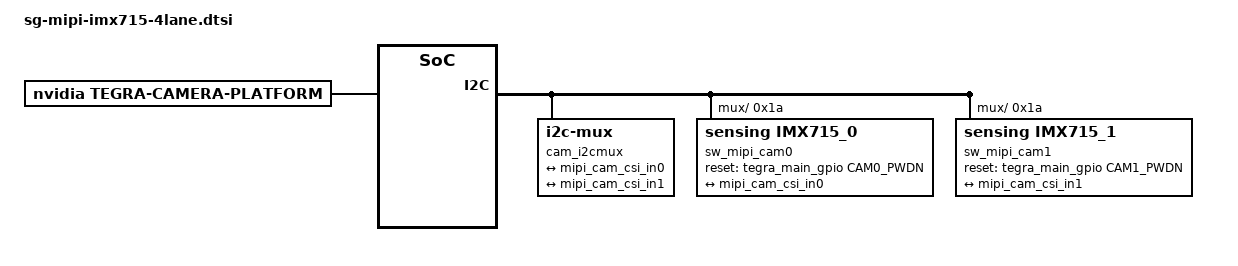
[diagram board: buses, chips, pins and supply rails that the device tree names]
/*
 * Copyright (c) 2022-2023, NVIDIA CORPORATION.  All rights reserved.
 *
 * This program is free software; you can redistribute it and/or modify
 * it under the terms of the GNU General Public License as published by
 * the Free Software Foundation; either version 2 of the License, or
 * (at your option) any later version.
 *
 * This program is distributed in the hope that it will be useful, but WITHOUT
 * ANY WARRANTY; without even the implied warranty of MERCHANTABILITY or
 * FITNESS FOR A PARTICULAR PURPOSE.  See the GNU General Public License for
 * more details.
 *
 * You should have received a copy of the GNU General Public License
 * along with this program.  If not, see <http://www.gnu.org/licenses/>.
 */
#define CAM0_PWDN	TEGRA234_MAIN_GPIO(H, 6)
#define CAM1_PWDN	TEGRA234_MAIN_GPIO(AC, 0)
#define CAM_I2C_MUX 	TEGRA234_AON_GPIO(CC, 3)

/ {
	tegra-capture-vi  {
		num-channels = <2>;
		ports {
			#address-cells = <1>;
			#size-cells = <0>;
			port@0 {
				reg = <0>;
				mipi_cam_vi_in0: endpoint {
					port-index = <1>;
					bus-width = <2>;
					remote-endpoint = <&mipi_cam_csi_out0>;
				};
			};
			port@1 {
				reg = <1>;
				mipi_cam_vi_in1: endpoint {
					port-index = <0>;
					bus-width = <4>;
					remote-endpoint = <&mipi_cam_csi_out1>;
				};
			};
		};
	};

	host1x@13e00000 {
		nvcsi@15a00000 {
			num-channels = <2>;
			#address-cells = <1>;
			#size-cells = <0>;
			channel@0 {
				reg = <0>;
				ports {
					#address-cells = <1>;
					#size-cells = <0>;
					port@0 {
						reg = <0>;
						mipi_cam_csi_in0: endpoint@0 {
							port-index = <0>;
							bus-width = <2>;
							remote-endpoint = <&mipi_cam_out0>;
						};
					};
					port@1 {
						reg = <1>;
						mipi_cam_csi_out0: endpoint@1 {
							remote-endpoint = <&mipi_cam_vi_in0>;
						};
					};
				};
			};
			channel@1 {
				reg = <1>;
				ports {
					#address-cells = <1>;
					#size-cells = <0>;
					port@0 {
						reg = <0>;
						mipi_cam_csi_in1: endpoint@2 {
							port-index = <2>;
							bus-width = <4>;
							remote-endpoint = <&mipi_cam_out1>;
						};
					};
					port@1 {
						reg = <1>;
						mipi_cam_csi_out1: endpoint@3 {
							remote-endpoint = <&mipi_cam_vi_in1>;
						};
					};
				};
			};
		};
	};

	cam_i2cmux {
		i2c@0 {
			sw_mipi_cam0: cam_0@1a {
				compatible = "sensing,imx715_0";
				/* I2C device address */
				reg = <0x1a>;

				/* V4L2 device node location */
				devnode = "video0";

				/* Physical dimensions of sensor */
				physical_w = "3.680";
				physical_h = "2.760";

				sensor_model = "imx715";
				
				/* Defines number of frames to be dropped by driver internally after applying */
				/* sensor crop settings. Some sensors send corrupt frames after applying */
				/* crop co-ordinates */
				post_crop_frame_drop = "0";

				/* Convert Gain to unit of dB (decibel) befor passing to kernel driver */
				use_decibel_gain = "false";

				/* if true, delay gain setting by one frame to be in sync with exposure */
				delayed_gain = "true";

				/* enable CID_SENSOR_MODE_ID for sensor modes selection */
				use_sensor_mode_id = "true";

				reset-gpios = <&tegra_main_gpio CAM0_PWDN GPIO_ACTIVE_HIGH>;

				/**
				* ==== Modes ====
				*/
				mode0 { /*  */
					mclk_khz = "27000";
					num_lanes = "2";
					tegra_sinterface = "serial_b";
					phy_mode = "DPHY";
					discontinuous_clk = "no";
					dpcm_enable = "false";
					cil_settletime = "0";
					lane_polarity = "0";

					active_w = "3864";
					active_h = "2176";
					mode_type = "bayer";
					pixel_phase = "gbrg";
					csi_pixel_bit_depth = "12";
					dynamic_pixel_bit_depth = "12";
					readout_orientation = "0";
					line_length = "3864";
					inherent_gain = "1";
					mclk_multiplier = "25.6";//600000 Khz / 25 =24000 Khz
					pix_clk_hz = "950400000";

					gain_factor = "1000";
					min_gain_val = "1"; /* 1dB */ 			//don't set 0db
					max_gain_val = "72000"; /* 72dB */
					step_gain_val = "300"; /* 0.3 */
					default_gain = "1";
					min_hdr_ratio = "1";
					max_hdr_ratio = "1";
					framerate_factor = "1000000";
					min_framerate = "60000000";
					max_framerate = "60000000";
					step_framerate = "1";
					default_framerate = "60000000";
					exposure_factor = "1000000";
					min_exp_time = "59"; /* us, min 4 lines */
					max_exp_time = "16000"; /* us, max number of lines per frame - 8 */
					step_exp_time = "1";
					default_exp_time = "16000";/* us */
					embedded_metadata_height = "1";
				};

				ports {
					#address-cells = <1>;
					#size-cells = <0>;

					port@0 {
						reg = <0>;
						mipi_cam_out0: endpoint {
							port-index = <1>;
							bus-width = <2>;
							remote-endpoint = <&mipi_cam_csi_in0>;
						};
					};
				};
			};
		};
		i2c@1 {
			sw_mipi_cam1: cam_1@1a {
				compatible = "sensing,imx715_1";
				/* I2C device address */
				reg = <0x1a>;

				/* V4L2 device node location */
				devnode = "video1";

				/* Physical dimensions of sensor */
				physical_w = "3.680";
				physical_h = "2.760";

				sensor_model = "imx715";
				
				/* Defines number of frames to be dropped by driver internally after applying */
				/* sensor crop settings. Some sensors send corrupt frames after applying */
				/* crop co-ordinates */
				post_crop_frame_drop = "0";

				/* Convert Gain to unit of dB (decibel) befor passing to kernel driver */
				use_decibel_gain = "true";

				/* if true, delay gain setting by one frame to be in sync with exposure */
				delayed_gain = "true";

				/* enable CID_SENSOR_MODE_ID for sensor modes selection */
				use_sensor_mode_id = "true";

				reset-gpios = <&tegra_main_gpio CAM1_PWDN GPIO_ACTIVE_HIGH>;

				mode0 { /* 3864X2176_4lane_raw12_30fps_linear */
					mclk_khz = "27000";
					num_lanes = "4";
					tegra_sinterface = "serial_c";
					phy_mode = "DPHY";
					discontinuous_clk = "no";
					dpcm_enable = "false";
					cil_settletime = "0";
					lane_polarity = "0";

					active_w = "3864";
					active_h = "2176";
					mode_type = "bayer";
					pixel_phase = "gbrg";
					csi_pixel_bit_depth = "12";
					dynamic_pixel_bit_depth = "12";
					readout_orientation = "0";
					line_length = "3864";
					inherent_gain = "1";
					mclk_multiplier = "25.6";
					pix_clk_hz = "396000000";

					gain_factor = "1000";
					min_gain_val = "1"; /* 1dB */ 			
					max_gain_val = "72000"; /* 72dB */
					step_gain_val = "300"; /* 0.3 */
					default_gain = "1";
					min_hdr_ratio = "1";
					max_hdr_ratio = "1";
					framerate_factor = "1000000";
					min_framerate = "30000000";
					max_framerate = "30000000";
					step_framerate = "1";
					default_framerate = "30000000";
					exposure_factor = "1000000";
					min_exp_time = "59"; 	/*us, min 4 lines*/
					max_exp_time = "30000"; /*us, max number of lines per frame - 8*/
					step_exp_time = "1";
					default_exp_time = "30000";/* us */
					embedded_metadata_height = "1";
				};

				mode1 { /* 1932x1088_4lane_raw12_30fps_binning */
					mclk_khz = "27000";
					num_lanes = "4";
					tegra_sinterface = "serial_c";
					phy_mode = "DPHY";
					discontinuous_clk = "no";
					dpcm_enable = "false";
					cil_settletime = "0";
					lane_polarity = "0";

					active_w = "1944";
					active_h = "1088";
					mode_type = "bayer";
					pixel_phase = "gbrg";			
					csi_pixel_bit_depth = "12";
					dynamic_pixel_bit_depth = "12";
					readout_orientation = "0";
					line_length = "1980";
					inherent_gain = "1";
					mclk_multiplier = "25.6";
					pix_clk_hz = "297000000";

					gain_factor = "1000";
					min_gain_val = "1"; /* 1dB */ 			
					max_gain_val = "72000"; /* 72dB */
					step_gain_val = "300"; /* 0.3 */
					default_gain = "1";
					min_hdr_ratio = "1";
					max_hdr_ratio = "1";
					framerate_factor = "1000000";
					min_framerate = "30000000";
					max_framerate = "30000000";
					step_framerate = "1";
					default_framerate = "30000000";
					exposure_factor = "1000000";
					min_exp_time = "59"; 	/*us, min 4 lines*/
					max_exp_time = "30000"; /*us, max number of lines per frame - 8*/
					step_exp_time = "1";
					default_exp_time = "30000";/* us */
					embedded_metadata_height = "1";
				};

				mode2 { /* 3840X2160_4lane_raw12_30fps_dol2 */
					mclk_khz = "27000";
					num_lanes = "4";
					tegra_sinterface = "serial_c";
					phy_mode = "DPHY";
					discontinuous_clk = "no";
					dpcm_enable = "false";
					cil_settletime = "0";
					lane_polarity = "0";

					active_w = "3872";
					active_h = "4434";			
					mode_type = "bayer_wdr_dol";
					pixel_phase = "gbrg";    
					csi_pixel_bit_depth = "12";
					dynamic_pixel_bit_depth = "12";
					readout_orientation = "0";
					line_length = "3872";
					inherent_gain = "1";
					mclk_multiplier = "25.6";
					pix_clk_hz = "394000000";

					gain_factor = "1000";
					min_gain_val = "1"; 	 /* 1dB */ 			
					max_gain_val = "72000";  /* 72dB */
					step_gain_val = "300";	 /* 0.3 */
					default_gain = "1";
					min_hdr_ratio = "32";
					max_hdr_ratio = "32";
					framerate_factor = "1000000";
					min_framerate = "30000000";
					max_framerate = "30000000";
					step_framerate = "1";
					default_framerate = "30000000";
					exposure_factor = "1000000";
					min_exp_time = "59";		/*us, min 4 lines*/
					max_exp_time = "30000"; 	/*us, max number of lines per frame - 8*/
					step_exp_time = "1";
					default_exp_time = "30000";	/* us */
					embedded_metadata_height = "1";

					/* WDR related settings */
					num_of_exposure = "2";
					num_of_ignored_lines = "48";
					num_of_lines_offset_0 = "9";        
					num_of_ignored_pixels = "8";		
					num_of_left_margin_pixels = "12";
					num_of_right_margin_pixels = "12";
				};

				ports {
					#address-cells = <1>;
					#size-cells = <0>;

					port@0 {
						reg = <0>;
						mipi_cam_out1: endpoint {
							port-index = <2>;
							bus-width = <4>;
							remote-endpoint = <&mipi_cam_csi_in1>;
						};
					};
				};
			};
		};
	};
};

/ {
	tegra-camera-platform {
		compatible = "nvidia, tegra-camera-platform";

		/**
		* Physical settings to calculate max ISO BW
		*
		* num_csi_lanes = <>;
		* Total number of CSI lanes when all cameras are active
		*
		* max_lane_speed = <>;
		* Max lane speed in Kbit/s
		*
		* min_bits_per_pixel = <>;
		* Min bits per pixel
		*
		* vi_peak_byte_per_pixel = <>;
		* Max byte per pixel for the VI ISO case
		*
		* vi_bw_margin_pct = <>;
		* Vi bandwidth margin in percentage
		*
		* max_pixel_rate = <>;
		* Max pixel rate in Kpixel/s for the ISP ISO case
		*
		* isp_peak_byte_per_pixel = <>;
		* Max byte per pixel for the ISP ISO case
		*
		* isp_bw_margin_pct = <>;
		* Isp bandwidth margin in percentage
		*/
		num_csi_lanes = <8>;
		max_lane_speed = <2500000>;
		min_bits_per_pixel = <10>;
		vi_peak_byte_per_pixel = <2>;
		vi_bw_margin_pct = <25>;
		max_pixel_rate = <7500000>;
		isp_peak_byte_per_pixel = <5>;
		isp_bw_margin_pct = <25>;

		/**
		 * The general guideline for naming badge_info contains 3 parts, and is as follows,
		 * The first part is the camera_board_id for the module; if the module is in a FFD
		 * platform, then use the platform name for this part.
		 * The second part contains the position of the module, ex. "rear" or "front".
		 * The third part contains the last 6 characters of a part number which is found
		 * in the module's specsheet from the vendor.
		 */
		modules {
			module0 {
				badge = "imx715_front";
				position = "front";
				orientation = "1";
				drivernode0 {
					pcl_id = "v4l2_sensor";
					devname = "imx715 9-001a";
					proc-device-tree = "/proc/device-tree/cam_i2cmux/i2c@0/cam_0@1a";
				};
			};
			module1 {
				badge = "imx715_rear";
				position = "rear";
				orientation = "1";
				drivernode0 {
					pcl_id = "v4l2_sensor";
					devname = "imx715 10-001a";
					proc-device-tree = "/proc/device-tree/cam_i2cmux/i2c@1/cam_1@1a";
				};
			};
		};
	};
};
